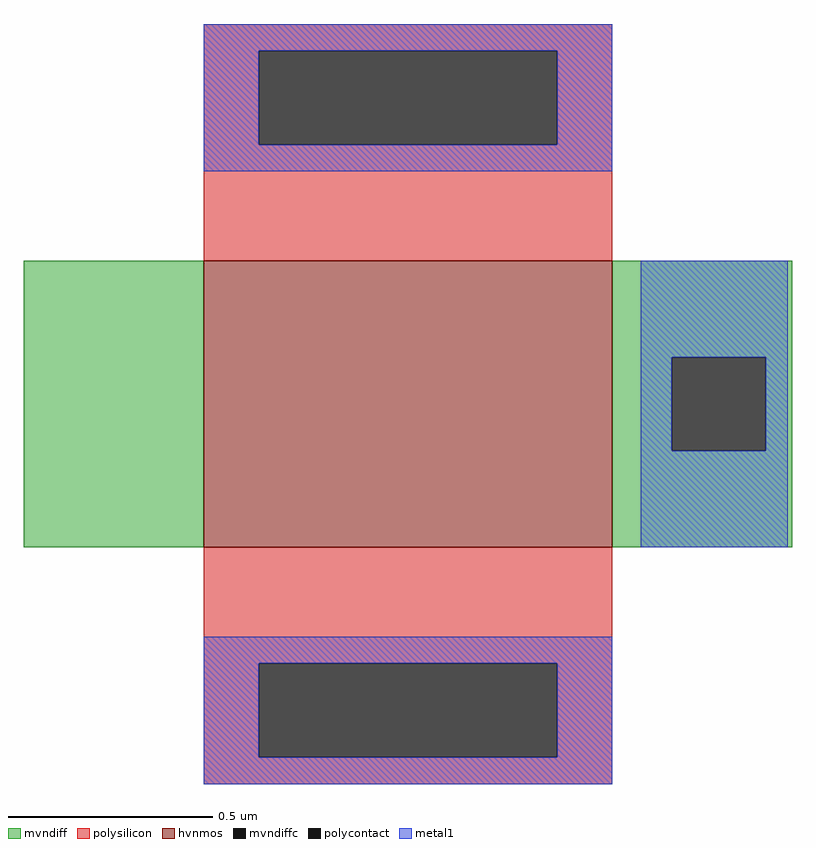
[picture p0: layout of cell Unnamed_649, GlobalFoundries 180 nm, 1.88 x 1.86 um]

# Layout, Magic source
magic
tech gf180mcuD
magscale 1 10
<< hvnmos >>
rect 14 0 214 140
<< mvndiff >>
rect -74 0 14 140
rect 214 93 302 140
rect 214 47 243 93
rect 289 47 302 93
rect 214 0 302 47
<< mvndiffc >>
rect 243 47 289 93
<< polysilicon >>
rect 14 243 214 256
rect 14 197 41 243
rect 187 197 214 243
rect 14 140 214 197
rect 14 -57 214 0
rect 14 -103 41 -57
rect 187 -103 214 -57
rect 14 -116 214 -103
<< polycontact >>
rect 41 197 187 243
rect 41 -103 187 -57
<< metal1 >>
rect 14 243 214 256
rect 14 197 41 243
rect 187 197 214 243
rect 14 184 214 197
rect 228 93 300 140
rect 228 47 243 93
rect 289 47 300 93
rect 228 0 300 47
rect 14 -57 214 -44
rect 14 -103 41 -57
rect 187 -103 214 -57
rect 14 -116 214 -103
<< end >>
